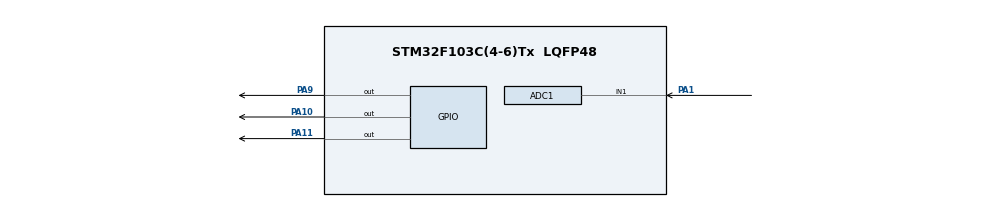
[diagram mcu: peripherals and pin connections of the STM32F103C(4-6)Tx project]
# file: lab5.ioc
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ADC1.Channel-0\#ChannelRegularConversion=ADC_CHANNEL_1
ADC1.NbrOfConversionFlag=1
ADC1.Rank-0\#ChannelRegularConversion=1
ADC1.SamplingTime-0\#ChannelRegularConversion=ADC_SAMPLETIME_1CYCLE_5
ADC1.master=1
Mcu.Family=STM32F1
Mcu.Name=STM32F103C(4-6)Tx
Mcu.Package=LQFP48
NVIC.PriorityGroup=NVIC_PRIORITYGROUP_4
PA1.Signal=ADCx_IN1
PA10.Signal=GPIO_Output
PA11.Signal=GPIO_Output
PA9.Signal=GPIO_Output
PD0-OSC_IN.Mode=HSE-External-Oscillator
PD0-OSC_IN.Signal=RCC_OSC_IN
PD1-OSC_OUT.Mode=HSE-External-Oscillator
PD1-OSC_OUT.Signal=RCC_OSC_OUT
ProjectManager.HeapSize=0x200
ProjectManager.StackSize=0x400
ProjectManager.TargetToolchain=MDK-ARM V5.32
RCC.APB1Freq_Value=8000000
RCC.APB2Freq_Value=8000000
SH.ADCx_IN1.0=ADC1_IN1,IN1
VP_SYS_VS_ND.Mode=No_Debug
board=custom

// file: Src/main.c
/* USER CODE BEGIN Header */
/**
  ******************************************************************************
  * @file           : main.c
  * @brief          : Main program body
  ******************************************************************************
  * @attention
  *
  * Copyright (c) 2023 STMicroelectronics.
  * All rights reserved.
  *
  * This software is licensed under terms that can be found in the LICENSE file
  * in the root directory of this software component.
  * If no LICENSE file comes with this software, it is provided AS-IS.
  *
  ******************************************************************************
  */
/* USER CODE END Header */
#include "main.h"

ADC_HandleTypeDef hadc1;

void SystemClock_Config(void);
static void MX_GPIO_Init(void);
static void MX_ADC1_Init(void);

/* USER CODE BEGIN 0 */

	uint32_t adcValue;

/* USER CODE END 0 */

int main(void)
{

  /* MCU Configuration--------------------------------------------------------*/

  /* Reset of all peripherals, Initializes the Flash interface and the Systick. */
  HAL_Init();

  /* Configure the system clock */
  SystemClock_Config();

  /* Initialize all configured peripherals */
  MX_GPIO_Init();
  MX_ADC1_Init();
  /* USER CODE BEGIN 2 */

		HAL_ADCEx_Calibration_Start(&hadc1);

		int speed = 0;

  /* USER CODE END 2 */

  /* Infinite loop */
  /* USER CODE BEGIN WHILE */
  while (1)
  {

		adcValue = 0;

		HAL_ADC_Start(&hadc1);

		if (HAL_ADC_PollForConversion(&hadc1, 100) == HAL_OK)
		{
				adcValue = HAL_ADC_GetValue(&hadc1);

			// 1.5 / 3.3 * 2^12 = 1861 in decimal and 1.5V=745 in hexadecimal
			// 1V = 4d9
			// 2V = 9b2
			if(0x4d9 <= adcValue && adcValue < 0x745){ // LOW SPEED

				speed = 1000;

			}else if(0x745 <= adcValue && adcValue < 0x9b2){ // MIDDLE SPEED

				speed = 500;

			}else if(adcValue >= 0x9b2){ // HIGH SPEED

				speed = 300;

			}

		}

		if(speed > 0) {
			HAL_GPIO_WritePin(GPIOA, GPIO_PIN_9, GPIO_PIN_SET);
			HAL_Delay(speed);
			HAL_GPIO_WritePin(GPIOA, GPIO_PIN_9, GPIO_PIN_RESET);

			HAL_GPIO_WritePin(GPIOA, GPIO_PIN_10, GPIO_PIN_SET);
			HAL_Delay(speed);
			HAL_GPIO_WritePin(GPIOA, GPIO_PIN_10, GPIO_PIN_RESET);

			HAL_GPIO_WritePin(GPIOA, GPIO_PIN_11, GPIO_PIN_SET);
			HAL_Delay(speed);
			HAL_GPIO_WritePin(GPIOA, GPIO_PIN_11, GPIO_PIN_RESET);

			HAL_GPIO_WritePin(GPIOA, GPIO_PIN_10, GPIO_PIN_SET);
			HAL_Delay(speed);
			HAL_GPIO_WritePin(GPIOA, GPIO_PIN_10, GPIO_PIN_RESET);

			HAL_GPIO_WritePin(GPIOA, GPIO_PIN_9, GPIO_PIN_SET);
			HAL_Delay(speed);
			HAL_GPIO_WritePin(GPIOA, GPIO_PIN_9, GPIO_PIN_RESET);
		}

		HAL_Delay(speed);

		HAL_ADC_Stop(&hadc1);

    /* USER CODE END WHILE */

  }
}

void SystemClock_Config(void)
{
  RCC_OscInitTypeDef RCC_OscInitStruct = {0};
  RCC_ClkInitTypeDef RCC_ClkInitStruct = {0};
  RCC_PeriphCLKInitTypeDef PeriphClkInit = {0};

  /** Initializes the RCC Oscillators according to the specified parameters
  * in the RCC_OscInitTypeDef structure.
  */
  RCC_OscInitStruct.OscillatorType = RCC_OSCILLATORTYPE_HSI;
  RCC_OscInitStruct.HSIState = RCC_HSI_ON;
  RCC_OscInitStruct.HSICalibrationValue = RCC_HSICALIBRATION_DEFAULT;
  RCC_OscInitStruct.PLL.PLLState = RCC_PLL_NONE;
  if (HAL_RCC_OscConfig(&RCC_OscInitStruct) != HAL_OK)
  {
    Error_Handler();
  }

  /** Initializes the CPU, AHB and APB buses clocks
  */
  RCC_ClkInitStruct.ClockType = RCC_CLOCKTYPE_HCLK|RCC_CLOCKTYPE_SYSCLK
                              |RCC_CLOCKTYPE_PCLK1|RCC_CLOCKTYPE_PCLK2;
  RCC_ClkInitStruct.SYSCLKSource = RCC_SYSCLKSOURCE_HSI;
  RCC_ClkInitStruct.AHBCLKDivider = RCC_SYSCLK_DIV1;
  RCC_ClkInitStruct.APB1CLKDivider = RCC_HCLK_DIV1;
  RCC_ClkInitStruct.APB2CLKDivider = RCC_HCLK_DIV1;

  if (HAL_RCC_ClockConfig(&RCC_ClkInitStruct, FLASH_LATENCY_0) != HAL_OK)
  {
    Error_Handler();
  }
  PeriphClkInit.PeriphClockSelection = RCC_PERIPHCLK_ADC;
  PeriphClkInit.AdcClockSelection = RCC_ADCPCLK2_DIV2;
  if (HAL_RCCEx_PeriphCLKConfig(&PeriphClkInit) != HAL_OK)
  {
    Error_Handler();
  }
}

static void MX_ADC1_Init(void)
{

  ADC_ChannelConfTypeDef sConfig = {0};

  /** Common config
  */
  hadc1.Instance = ADC1;
  hadc1.Init.ScanConvMode = ADC_SCAN_DISABLE;
  hadc1.Init.ContinuousConvMode = DISABLE;
  hadc1.Init.DiscontinuousConvMode = DISABLE;
  hadc1.Init.ExternalTrigConv = ADC_SOFTWARE_START;
  hadc1.Init.DataAlign = ADC_DATAALIGN_RIGHT;
  hadc1.Init.NbrOfConversion = 1;
  if (HAL_ADC_Init(&hadc1) != HAL_OK)
  {
    Error_Handler();
  }

  /** Configure Regular Channel
  */
  sConfig.Channel = ADC_CHANNEL_1;
  sConfig.Rank = ADC_REGULAR_RANK_1;
  sConfig.SamplingTime = ADC_SAMPLETIME_1CYCLE_5;
  if (HAL_ADC_ConfigChannel(&hadc1, &sConfig) != HAL_OK)
  {
    Error_Handler();
  }

}

static void MX_GPIO_Init(void)
{
  GPIO_InitTypeDef GPIO_InitStruct = {0};

  /* GPIO Ports Clock Enable */
  __HAL_RCC_GPIOD_CLK_ENABLE();
  __HAL_RCC_GPIOA_CLK_ENABLE();

  /*Configure GPIO pin Output Level */
  HAL_GPIO_WritePin(GPIOA, GPIO_PIN_9|GPIO_PIN_10|GPIO_PIN_11, GPIO_PIN_RESET);

  /*Configure GPIO pins : PA9 PA10 PA11 */
  GPIO_InitStruct.Pin = GPIO_PIN_9|GPIO_PIN_10|GPIO_PIN_11;
  GPIO_InitStruct.Mode = GPIO_MODE_OUTPUT_PP;
  GPIO_InitStruct.Pull = GPIO_NOPULL;
  GPIO_InitStruct.Speed = GPIO_SPEED_FREQ_LOW;
  HAL_GPIO_Init(GPIOA, &GPIO_InitStruct);

}

void Error_Handler(void)
{
  __disable_irq();
  while (1)
  {
  }
}
